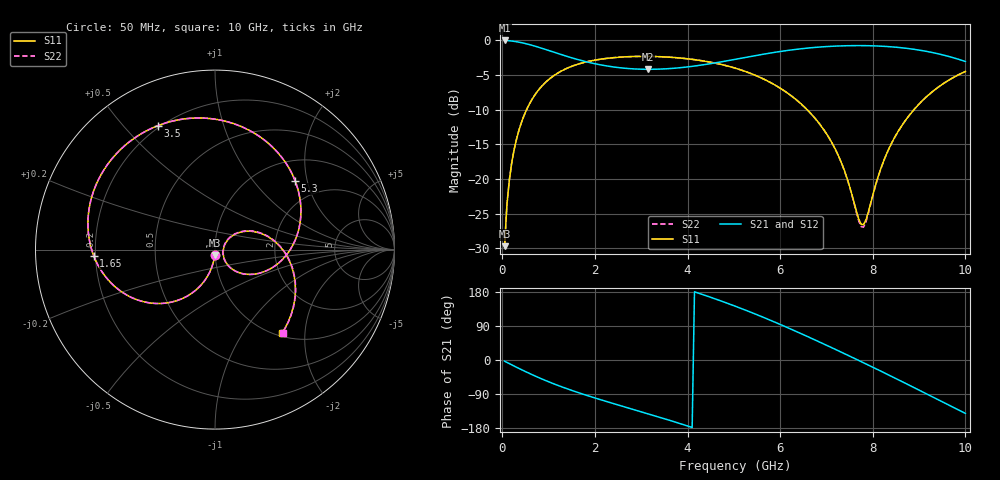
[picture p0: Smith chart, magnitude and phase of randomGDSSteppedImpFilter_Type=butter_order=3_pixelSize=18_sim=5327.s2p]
! freq	dB(S11)	phase(S11)	dB(S12)	phase(S12)
!  dB(S21)	phase(S21)	dB(S22)	phase(S22)
!S-par simulation data
#  GHz  S  DB  R 50
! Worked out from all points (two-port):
!   200 points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, 50 MHz to 10 GHz, reference 50 ohm
!   highest |S21| = -0.01 dB at 50 MHz (marker M1); lowest = -4.2 dB at 3.15 GHz (marker M2)
!   |S21| within 3 dB of the highest: start of sweep to 1.77 GHz; 4.801 GHz to 9.983 GHz (5.182 GHz wide, 70.1 % of centre)
!   lowest |S11| = -29.7 dB at 50 MHz (marker M3), VSWR 1.07, Z = 49.7 - j3.26 ohm
!   |S11| at or under -10 dB: start of sweep to 524.8 MHz; 6.583 GHz to 8.887 GHz (2.304 GHz wide, 29.8 % of centre)
!   |S22| runs from -29.7 to -2.3 dB; largest |S21 - S12| = 0
!   S11 on the Smith chart (normalised r, x): 50 MHz: 0.99, -0.07; 1.65 GHz: 0.19, -0.02; 3.5 GHz: 0.19, +0.62; 5.3 GHz: 1.44, +1.69; 10 GHz: 1.06, -1.53
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0.05  -29.69 -93.4  -0.01 -3.2  -0.01 -3.2  -29.69 -93.4
0.1  -23.72 -96.8  -0.03 -6.3  -0.03 -6.3  -23.72 -96.8
0.2  -17.82 -103.1  -0.09 -12.6  -0.09 -12.6  -17.82 -103.1
0.45  -11.17 -118.1  -0.38 -27.7  -0.38 -27.7  -11.17 -118.1
1  -5.66 -147.9  -1.45 -57.4  -1.45 -57.4  -5.66 -147.9
1.65  -3.40 -177.0  -2.80 -86.4  -2.80 -86.4  -3.40 -177.0
1.75  -3.21 178.9  -2.98 -90.5  -2.98 -90.5  -3.21 179.0
2.4  -2.49 154.4  -3.83 -115.0  -3.83 -115.0  -2.49 154.4
3.15  -2.31 127.4  -4.17 -142.1  -4.17 -142.1  -2.31 127.4
3.4  -2.35 118.3  -4.14 -151.2  -4.14 -151.2  -2.35 118.4
3.5  -2.38 114.7  -4.11 -154.9  -4.11 -154.9  -2.38 114.7
4.25  -2.87 85.9  -3.61 175.9  -3.61 175.9  -2.87 86.0
5.05  -4.04 52.0  -2.71 141.1  -2.71 141.1  -4.04 52.1
5.3  -4.61 40.7  -2.40 129.3  -2.40 129.3  -4.60 40.7
6.05  -7.10 4.8  -1.55 91.3  -1.55 91.3  -7.10 4.8
6.7  -10.83 -26.6  -1.04 55.9  -1.04 55.9  -10.83 -26.7
7.25  -16.52 -48.1  -0.81 24.7  -0.81 24.7  -16.55 -48.5
7.75  -26.54 -13.8  -0.75 -4.3  -0.75 -4.3  -26.88 -14.0
8.35  -15.60 35.1  -0.90 -39.9  -0.90 -39.9  -15.63 35.9
8.75  -11.13 18.3  -1.16 -64.1  -1.16 -64.1  -11.14 18.9
9.15  -8.19 -2.7  -1.57 -88.7  -1.57 -88.7  -8.19 -2.2
10  -4.49 -51.2  -3.05 -140.9  -3.05 -140.9  -4.49 -50.8
